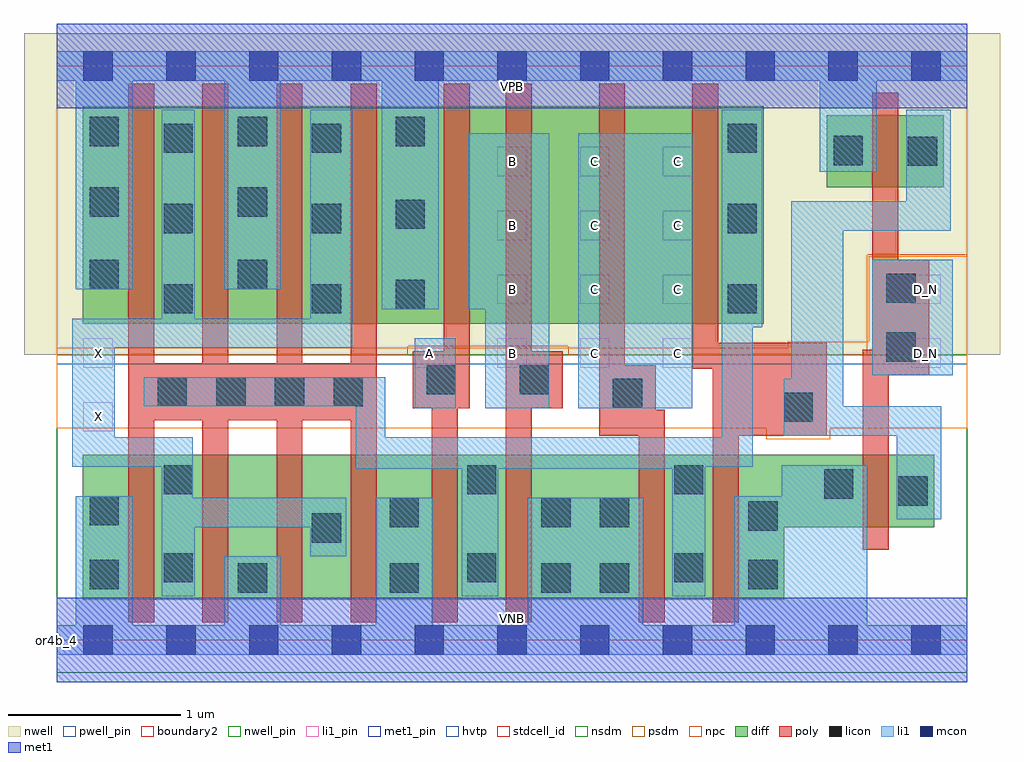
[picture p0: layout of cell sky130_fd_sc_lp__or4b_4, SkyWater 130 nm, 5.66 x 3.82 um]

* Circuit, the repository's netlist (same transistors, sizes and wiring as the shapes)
* Copyright 2020 The SkyWater PDK Authors
*
* Licensed under the Apache License, Version 2.0 (the "License");
* you may not use this file except in compliance with the License.
* You may obtain a copy of the License at
*
*     https://www.apache.org/licenses/LICENSE-2.0
*
* Unless required by applicable law or agreed to in writing, software
* distributed under the License is distributed on an "AS IS" BASIS,
* WITHOUT WARRANTIES OR CONDITIONS OF ANY KIND, either express or implied.
* See the License for the specific language governing permissions and
* limitations under the License.
*
* SPDX-License-Identifier: Apache-2.0

.SUBCKT sky130_fd_sc_lp__or4b_4 A B C D_N VGND VNB VPB VPWR X
*.PININFO A:I B:I C:I D_N:I VGND:I VNB:I VPB:I VPWR:I X:O
MMP0 VPWR A sndPA VPB sky130_fd_pr__pfet_01v8_hvt m=1 w=1.26U l=0.15U mult=1 sa=0.265
+ sb=0.265 sd=0.28 area=0.063 perim=1.14
MMP1 sndPA B sndPB VPB sky130_fd_pr__pfet_01v8_hvt m=1 w=1.26U l=0.15U mult=1 sa=0.265
+ sb=0.265 sd=0.28 area=0.063 perim=1.14
MMP2 sndPB C sndPC VPB sky130_fd_pr__pfet_01v8_hvt m=1 w=1.26U l=0.15U mult=1 sa=0.265
+ sb=0.265 sd=0.28 area=0.063 perim=1.14
MMP3 sndPC D y VPB sky130_fd_pr__pfet_01v8_hvt m=1 w=1.26U l=0.15U mult=1 sa=0.265
+ sb=0.265 sd=0.28 area=0.063 perim=1.14
MMIP3 D D_N VPWR VPB sky130_fd_pr__pfet_01v8_hvt m=1 w=0.42U l=0.15U mult=1 sa=0.265
+ sb=0.265 sd=0.28 area=0.063 perim=1.14
MMIP4 X y VPWR VPB sky130_fd_pr__pfet_01v8_hvt m=4 w=1.26U l=0.15U mult=1 sa=0.265
+ sb=0.265 sd=0.28 area=0.063 perim=1.14
MMN0 y A VGND VNB sky130_fd_pr__nfet_01v8 m=1 w=0.84U l=0.15U mult=1 sa=0.265 sb=0.265
+ sd=0.28 area=0.063 perim=1.14
MMN1 y B VGND VNB sky130_fd_pr__nfet_01v8 m=1 w=0.84U l=0.15U mult=1 sa=0.265 sb=0.265
+ sd=0.28 area=0.063 perim=1.14
MMN2 y C VGND VNB sky130_fd_pr__nfet_01v8 m=1 w=0.84U l=0.15U mult=1 sa=0.265 sb=0.265
+ sd=0.28 area=0.063 perim=1.14
MMN3 y D VGND VNB sky130_fd_pr__nfet_01v8 m=1 w=0.84U l=0.15U mult=1 sa=0.265 sb=0.265
+ sd=0.28 area=0.063 perim=1.14
MMIN3 D D_N VGND VNB sky130_fd_pr__nfet_01v8 m=1 w=0.42U l=0.15U mult=1 sa=0.265
+ sb=0.265 sd=0.28 area=0.063 perim=1.14
MMIN4 X y VGND VNB sky130_fd_pr__nfet_01v8 m=4 w=0.84U l=0.15U mult=1 sa=0.265
+ sb=0.265 sd=0.28 area=0.063 perim=1.14
.ENDS sky130_fd_sc_lp__or4b_4

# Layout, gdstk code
import gdstk
lib = gdstk.Library(unit=1e-6, precision=1e-09)
def R(c, l, rs):  # rectangles x0, y0, x1, y1
    for r in rs: c.add(gdstk.rectangle(r[:2], r[2:], *l))
def A(c, l, x, y, w, h, nx, ny, dx, dy):  # array of equal rectangles
    R(c, l, [(x+i*dx, y+j*dy, x+i*dx+w, y+j*dy+h) for i in range(nx) for j in range(ny)])
def P(c, l, *ps):  # polygons
    for p in ps: c.add(gdstk.Polygon(p, *l))
nwell_pin = (64, 16)
nwell = (64, 20)
diff = (65, 20)
poly = (66, 20)
licon = (66, 44)
li1_pin = (67, 16)
li1 = (67, 20)
mcon = (67, 44)
met1_pin = (68, 16)
met1 = (68, 20)
hvtp = (78, 44)
stdcell_id = (81, 4)
nsdm = (93, 44)
psdm = (94, 20)
npc = (95, 20)
pwell_pin = (122, 16)
boundary2 = (236, 0)

sky130_fd_sc_lp__or4b_4 = lib.new_cell('sky130_fd_sc_lp__or4b_4')
R(sky130_fd_sc_lp__or4b_4, nwell_pin, [(0,3.085,5.28,3.33)])
R(sky130_fd_sc_lp__or4b_4, nwell, [(-0.19,1.655,5.47,3.52)])
R(sky130_fd_sc_lp__or4b_4, diff, [(0.15,1.835,4.1,3.095), (4.465,2.625,5.145,3.045)])
P(sky130_fd_sc_lp__or4b_4, diff, [(5.09,1.075),(0.15,1.075),(0.15,0.235),(4.22,0.235),(4.22,0.655),(5.09,0.655)])
P(sky130_fd_sc_lp__or4b_4, poly, [(1.855,3.225),(1.705,3.225),(1.705,1.605),(1.425,1.605),(1.425,3.225),(1.275,3.225),(1.275,1.605),(0.995,1.605),(0.995,3.225),(0.845,3.225),(0.845,1.605),(0.565,1.605),(0.565,3.225),(0.415,3.225),(0.415,0.105),(0.565,0.105),(0.565,1.275),(0.845,1.275),(0.845,0.105),(0.995,0.105),(0.995,1.275),(1.275,1.275),(1.275,0.105),(1.425,0.105),(1.425,1.275),(1.705,1.275),(1.705,0.105),(1.855,0.105)],
  [(2.395,3.225),(2.245,3.225),(2.245,1.675),(2.065,1.675),(2.065,1.345),(2.175,1.345),(2.175,0.105),(2.325,0.105),(2.325,1.345),(2.395,1.345)],
  [(2.935,1.675),(2.755,1.675),(2.755,3.225),(2.605,3.225),(2.605,0.105),(2.755,0.105),(2.755,1.345),(2.935,1.345)],
  [(3.525,1.335),(3.475,1.335),(3.475,1.595),(3.295,1.595),(3.295,3.225),(3.145,3.225),(3.145,1.185),(3.375,1.185),(3.375,0.105),(3.525,0.105)],
  [(4.465,1.725),(3.835,1.725),(3.835,3.225),(3.685,3.225),(3.685,1.575),(3.805,1.575),(3.805,0.105),(3.955,0.105),(3.955,1.185),(4.465,1.185)],
  [(5.06,2.205),(4.88,2.205),(4.88,3.175),(4.73,3.175),(4.73,1.685),(4.675,1.685),(4.675,0.525),(4.825,0.525),(4.825,1.535),(5.06,1.535)])
A(sky130_fd_sc_lp__or4b_4, licon, 1.05, 0.275, 0.17, 0.17, 3, 1, 0.88, 0)
A(sky130_fd_sc_lp__or4b_4, licon, 0.585, 1.355, 0.17, 0.17, 4, 1, 0.34, 0)
A(sky130_fd_sc_lp__or4b_4, licon, 0.62, 1.895, 0.17, 0.17, 1, 3, 0, 0.465)
A(sky130_fd_sc_lp__or4b_4, licon, 1.48, 1.895, 0.17, 0.17, 1, 3, 0, 0.465)
A(sky130_fd_sc_lp__or4b_4, licon, 3.89, 1.895, 0.17, 0.17, 1, 3, 0, 0.465)
R(sky130_fd_sc_lp__or4b_4, licon, [(3.15,0.275,3.32,0.445), (0.19,0.295,0.36,0.465), (4.01,0.295,4.18,0.465), (0.62,0.335,0.79,0.505), (2.38,0.335,2.55,0.505), (3.58,0.335,3.75,0.505), (1.48,0.565,1.65,0.735), (4.01,0.635,4.18,0.805), (1.93,0.655,2.1,0.825), (2.81,0.655,2.98,0.825), (3.15,0.655,3.32,0.825), (0.19,0.665,0.36,0.835), (4.88,0.78,5.05,0.95), (4.45,0.82,4.62,0.99), (0.62,0.845,0.79,1.015), (2.38,0.845,2.55,1.015), (3.58,0.845,3.75,1.015), (4.215,1.265,4.385,1.435), (3.225,1.345,3.395,1.515), (2.145,1.425,2.315,1.595), (2.685,1.425,2.855,1.595), (4.81,1.615,4.98,1.785), (1.965,1.92,2.135,2.09), (4.81,1.955,4.98,2.125), (0.19,2.035,0.36,2.205), (1.05,2.035,1.22,2.205), (1.965,2.385,2.135,2.555), (0.19,2.455,0.36,2.625), (1.05,2.455,1.22,2.625), (4.935,2.75,5.105,2.92), (4.505,2.755,4.675,2.925), (0.19,2.865,0.36,3.035), (1.05,2.865,1.22,3.035), (1.965,2.865,2.135,3.035)])
A(sky130_fd_sc_lp__or4b_4, li1_pin, 2.075, 1.58, 0.17, 0.17, 4, 1, 0.48, 0)
A(sky130_fd_sc_lp__or4b_4, li1_pin, 2.555, 1.95, 0.17, 0.17, 3, 3, 0.48, 0.37)
R(sky130_fd_sc_lp__or4b_4, li1_pin, [(0.155,1.21,0.325,1.38), (0.155,1.58,0.325,1.75), (4.955,1.58,5.125,1.75), (4.955,1.95,5.125,2.12)])
R(sky130_fd_sc_lp__or4b_4, li1, [(2.075,1.345,2.315,1.75), (3.025,1.345,3.685,2.94), (4.73,1.535,5.195,2.205)])
P(sky130_fd_sc_lp__or4b_4, li1, [(0.97,2.035),(0.97,3.245),(0.44,3.245),(0.44,2.035),(0.11,2.035),(0.11,3.245),(0,3.245),(0,3.415),(5.28,3.415),(5.28,3.245),(4.755,3.245),(4.755,2.715),(4.425,2.715),(4.425,3.245),(2.215,3.245),(2.215,1.92),(1.885,1.92),(1.885,3.245),(1.3,3.245),(1.3,2.035)],
  [(5.28,0.085),(4.7,0.085),(4.7,1.015),(4.205,1.015),(4.205,0.835),(3.93,0.835),(3.93,0.085),(3.4,0.085),(3.4,0.825),(2.73,0.825),(2.73,0.085),(2.18,0.085),(2.18,0.825),(1.85,0.825),(1.85,0.085),(1.3,0.085),(1.3,0.485),(0.97,0.485),(0.97,0.085),(0.44,0.085),(0.44,0.835),(0.11,0.835),(0.11,0.085),(0,0.085),(0,-0.085),(5.28,-0.085)],
  [(4.09,3.075),(3.855,3.075),(3.855,1.175),(1.905,1.175),(1.905,1.525),(0.505,1.525),(0.505,1.355),(1.735,1.355),(1.735,0.995),(2.35,0.995),(2.35,0.255),(2.56,0.255),(2.56,0.995),(3.57,0.995),(3.57,0.255),(3.76,0.255),(3.76,1.005),(4.035,1.005),(4.035,1.815),(4.09,1.815)],
  [(2.855,2.94),(2.385,2.94),(2.385,1.92),(2.485,1.92),(2.485,1.345),(2.855,1.345)],
  [(4.925,2.545),(4.925,3.075),(5.185,3.075),(5.185,2.375),(4.56,2.375),(4.56,1.355),(5.13,1.355),(5.13,0.7),(4.87,0.7),(4.87,1.185),(4.215,1.185),(4.215,1.515),(4.26,1.515),(4.26,2.545)],
  [(0.8,1.865),(1.47,1.865),(1.47,3.075),(1.715,3.075),(1.715,1.695),(0.335,1.695),(0.335,1.175),(0.79,1.175),(0.79,0.825),(1.68,0.825),(1.68,0.485),(1.47,0.485),(1.47,0.655),(0.8,0.655),(0.8,0.255),(0.61,0.255),(0.61,1.005),(0.09,1.005),(0.09,1.865),(0.61,1.865),(0.61,3.075),(0.8,3.075)])
A(sky130_fd_sc_lp__or4b_4, mcon, 0.155, -0.085, 0.17, 0.17, 11, 2, 0.48, 3.33)
R(sky130_fd_sc_lp__or4b_4, met1_pin, [(0,0,5.28,0.245), (0,3.085,5.28,3.33)])
R(sky130_fd_sc_lp__or4b_4, met1, [(0,-0.245,5.28,0.245), (0,3.085,5.28,3.575)])
R(sky130_fd_sc_lp__or4b_4, hvtp, [(0,1.6,5.28,3.33)])
R(sky130_fd_sc_lp__or4b_4, stdcell_id, [(0,0,5.28,3.33)])
R(sky130_fd_sc_lp__or4b_4, nsdm, [(0,-0.19,5.28,1.655)])
P(sky130_fd_sc_lp__or4b_4, psdm, [(5.28,3.52),(0,3.52),(0,1.655),(2.035,1.655),(2.035,1.705),(2.965,1.705),(2.965,1.655),(4.7,1.655),(4.7,2.235),(5.28,2.235)])
P(sky130_fd_sc_lp__or4b_4, npc, [(5.28,2.225),(4.71,2.225),(4.71,1.73),(4.24,1.73),(4.24,1.695),(0,1.695),(0,1.23),(4.115,1.23),(4.115,1.165),(4.485,1.165),(4.485,1.23),(5.28,1.23)])
R(sky130_fd_sc_lp__or4b_4, pwell_pin, [(0,0,5.28,0.245)])
R(sky130_fd_sc_lp__or4b_4, boundary2, [(0,0,5.28,3.33)])
sky130_fd_sc_lp__or4b_4.add(gdstk.Label('VNB', (2.64,0.123), layer=64, texttype=59))
sky130_fd_sc_lp__or4b_4.add(gdstk.Label('VPB', (2.64,3.208), layer=64, texttype=5))
sky130_fd_sc_lp__or4b_4.add(gdstk.Label('or4b_4', (0,0), layer=83, texttype=44))
sky130_fd_sc_lp__or4b_4.add(gdstk.Label('VPWR', (2.64,3.208), layer=68, texttype=5))
sky130_fd_sc_lp__or4b_4.add(gdstk.Label('VGND', (2.64,0.123), layer=68, texttype=5))
sky130_fd_sc_lp__or4b_4.add(gdstk.Label('A', (2.16,1.665), layer=67, texttype=5))
sky130_fd_sc_lp__or4b_4.add(gdstk.Label('B', (2.64,1.665), layer=67, texttype=5))
sky130_fd_sc_lp__or4b_4.add(gdstk.Label('B', (2.64,2.035), layer=67, texttype=5))
sky130_fd_sc_lp__or4b_4.add(gdstk.Label('B', (2.64,2.405), layer=67, texttype=5))
sky130_fd_sc_lp__or4b_4.add(gdstk.Label('B', (2.64,2.775), layer=67, texttype=5))
sky130_fd_sc_lp__or4b_4.add(gdstk.Label('C', (3.12,1.665), layer=67, texttype=5))
sky130_fd_sc_lp__or4b_4.add(gdstk.Label('C', (3.12,2.035), layer=67, texttype=5))
sky130_fd_sc_lp__or4b_4.add(gdstk.Label('C', (3.12,2.405), layer=67, texttype=5))
sky130_fd_sc_lp__or4b_4.add(gdstk.Label('C', (3.12,2.775), layer=67, texttype=5))
sky130_fd_sc_lp__or4b_4.add(gdstk.Label('C', (3.6,1.665), layer=67, texttype=5))
sky130_fd_sc_lp__or4b_4.add(gdstk.Label('C', (3.6,2.035), layer=67, texttype=5))
sky130_fd_sc_lp__or4b_4.add(gdstk.Label('C', (3.6,2.405), layer=67, texttype=5))
sky130_fd_sc_lp__or4b_4.add(gdstk.Label('C', (3.6,2.775), layer=67, texttype=5))
sky130_fd_sc_lp__or4b_4.add(gdstk.Label('D_N', (5.04,1.665), layer=67, texttype=5))
sky130_fd_sc_lp__or4b_4.add(gdstk.Label('D_N', (5.04,2.035), layer=67, texttype=5))
sky130_fd_sc_lp__or4b_4.add(gdstk.Label('X', (0.24,1.295), layer=67, texttype=5))
sky130_fd_sc_lp__or4b_4.add(gdstk.Label('X', (0.24,1.665), layer=67, texttype=5))

lib.write_gds('sky130_fd_sc_lp__or4b_4.gds')
